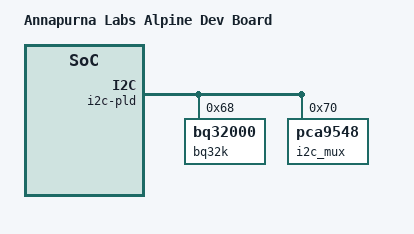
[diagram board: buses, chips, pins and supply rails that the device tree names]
/*
 * Copyright 2013 Annapurna Labs Ltd.
 *
 * This program is free software; you can redistribute it and/or modify it
 * under the terms and conditions of the GNU General Public License,
 * version 2, as published by the Free Software Foundation.
 *
 * This program is distributed in the hope it will be useful, but WITHOUT
 * ANY WARRANTY; without even the implied warranty of MERCHANTABILITY or
 * FITNESS FOR A PARTICULAR PURPOSE.  See the GNU General Public License for
 * more details.
 *
 * You should have received a copy of the GNU General Public License along with
 * this program.  If not, see <http://www.gnu.org/licenses/>.
 */

/dts-v1/;

/include/ "alpine.dtsi"

/ {
	version = "2.0";
	model = "Annapurna Labs Alpine Dev Board";
	compatible = "annapurna-labs,alpine";

	aliases {
		uart0 = &uart0;
	};

	chosen {
		bootargs = "dom0_mem=512M sync_console console=dtuart dtuart=uart0";
		xen,dom0-bootargs = "root=ubi0:root rootfstype=ubifs ubi.mtd=3 console=hvc0,115200n8 nosmp cpuidle.off=1 pci=pcie_bus_perf";
			/* root=/dev/nfs rw nfsroot=172.4.0.147:/srv/root/,tcp,nolock rw ip=172.4.3.32:172.4.0.147::255.255.248.0:alpine_db:eth1:none */
		modules {
			#address-cells = <1>;
			#size-cells = <1>;

			module@0 {
				compatible = "xen,linux-zimage", "xen,multiboot-module";
				reg = <0x60000000 0x500000>;
			};
		};
	};

	hypervisor {
		compatible = "xen,xen-4.4", "xen,xen";
		reg = <0x0 0xc0000000 0x0 0x20000>;
		interrupts = <1 15 0xf08>;
	};

	soc {
		arch-timer {
			compatible = "arm,cortex-a15-timer",
				     "arm,armv7-timer";
			interrupts = <1 13 0xf08>,
				     <1 14 0xf08>;
			clock-frequency = <1500000000>;
		};

		board-cfg {
			id = "alpine_db_auto";

			/* U-Boot offset in boot source [bytes] */
			u-boot-offset = <0x20000>;

			/*
			 * Some of the PBS bus controllers have dedicated pins,
			 * however most of the pins are Multi-usage I/Os (MUIO),
			 * thus enabling flexible usage.
			 * Refer to the specific chip datasheet for further details.
			 *
			 * Choose which interfaces are to be multiplexed:
			 * - &if_nand_8 - NAND
			 * - &if_nand_cs_0, ..., &if_nand_cs_3 - NAND CS 0..3
			 * - &if_nand_wp - NAND WP
			 * - &if_sata_0_leds, &if_sata_1_leds - SATA leds
			 * - &if_eth_leds - Ethernet leds
			 * - &if_uart_1, ..., &if_uart_3 - UART 1..3
			 * - &if_i2c_gen - secondary I2C conrtoller
			 * - &if_ulpi_0_rst_n - ULPI reset
			 * - &if_pci_ep_int_a - PCIe EP interrupt
			 * - &if_spim_a_ss_1, ..., &if_spim_a_ss_3 - SPI CS 1..3
			 */
			pinctrl_init {
				pinctrl-0 = <
					&if_nand_8
					&if_nand_cs_0
					&if_sata_1_leds
					&if_eth_leds
					&if_uart_1>;
			};

			/*
			 * Initial GPIO configuration - which pins are input,
			 * which are output, and what is the initial value for
			 * output pins.
			 * By default, GPIO pins that are not listed below are
			 * input pins.
			 * GPIO pins which are listed below are automatically
			 * multiplexed and should not conflict with the
			 * multiplexed interfaces listed in 'pinctrl_init'
			 * above.
			 */
			gpio_init {
				/* <
				 * GPIO num 1, is output, output value
				 * GPIO num 2, is output, output value
				 * ...
				 * GPIO num N, is output, output value
				 * >
				 */
				gpio-list = <
					/* Inputs */
					0 0 0 /* UART 1,2,3 module inserted */
					32 0 0 /* PCIE0 present */
					33 0 0 /* PCIE1_present */
					34 0 0 /* PCIE2SATA not present */
					35 0 0 /* SFP 0,1 absent */
					36 0 0 /* SFP 2,3 absent */
					37 0 0 /* External ETH PHY interrupt */

					/* Outputs */
					1 1 0 /* Debug led 0 */
					2 1 1 /* Debug led 1 */
					3 1 1 /* ULPI 0 RST_N */
					5 1 0 /* Preloader EEPROM enable */
					38 1 1 /* PCI RSTN */
					39 1 1 /* SFP ON */
					40 1 0 /* External ETH PHY A reset */
					41 1 0 /* External ETH PHY B reset */
					42 1 1 /* VDD DRAM 1: 1.5V, 0: 1.35V */
					43 1 0 /* VTT OFF */
				>;
			};

			/* SerDes initialization configuration */
			serdes {
				/*
				 * 'ref-clock' can be any of the following:
				 * - "100Mhz-internal" - 100 Mhz internal clock
				 * - "100Mhz" - 100 Mhz on-board clock
				 * - "156.25Mhz" - 156.25 Mhz on-board clock
				 * - "right" - Clock is routed from right group
				 *             - assuming the right group has
				 *               on-board clock
				 *             - assuming 3 <> 2 <> 1 <> 0
				 * - "left" - Clock is routed from left group
				 *            - assuming the left group has
				 *              on-board clock
				 *            - assuming 3 <> 2 <> 1 <> 0
				 *
				 * 'active-lanes' selects which lanes are active
				 * e.g. <0 1 2 3>, <0 1>, etc.
				 *
				 * 'inv-tx-lanes' selects which lanes have their
				 * Tx polarity inverted (+/-)
				 * e.g. <0 1 2 3>, <0 1>, etc.
				 *
				 * 'inv-rx-lanes' selects which lanes have their
				 * Rx polarity inverted (+/-)
				 * e.g. <0 1 2 3>, <0 1>, etc.
				 *
				 * 'ssc' - SSC (spread spectrum clock)
				 * - "enabled" or "disabled"
				 * - Relevant only for 'interface' = 'sata'
				 *
				 * group 0:
				 * 'interface' can be any of the following:
				 * - "off" - no interface on this group
				 * - "off_bp" - no interface on this group, but
				 *              r2l/l2r clocks are bypassed
				 * - "pcie_g2x2_usb" - PCIe gen 2 x2 + USB
				 * - "pcie_g2x2_pcie_g2x2" - 2xPCIe gen 2 x2
				 * - "pcie_g3x4" - PCIe gen 3 x4
				 *
				 * group 1:
				 * 'interface' can be any of the following:
				 * - "off" - no interface on this group
				 * - "off_bp" - no interface on this group, but
				 *              r2l/l2r clocks are bypassed
				 * - "pcie_g3x4" - PCIe gen 3 x4
				 * - "sata" - SATA (up to 4 ports)
				 *
				 * group 2:
				 * 'interface' can be any of the following:
				 * - "off" - no interface on this group
				 * - "off_bp" - no interface on this group, but
				 *              r2l/l2r clocks are bypassed
				 * - "pcie_g3x4" - PCIe gen 3 x4
				 * - "sata" - SATA (up to 4 ports)
				 *
				 * group 3:
				 * 'interface' can be any of the following:
				 * - "off" - no interface on this group
				 * - "off_bp" - no interface on this group, but
				 *              r2l/l2r clocks are bypassed
				 * - "pcie_g2x2_usb" - PCIe gen 2 x2 + USB
				 * - "sgmii" - SGMII (up to 4 ports)
				 * - "10gbe" - 10GbE (up to 4 ports)
				 */

				group0 {
					interface = "pcie_g2x2_usb";
					ref-clock = "left";
					active-lanes = <0 1>;
					inv-tx-lanes = <>;
					inv-rx-lanes = <>;
					ssc = "disabled";
				};

				group1 {
					interface = "sata";
					ref-clock = "100Mhz";
					active-lanes = <0 1 2 3>;
					inv-tx-lanes = <>;
					inv-rx-lanes = <>;
					ssc = "disabled";
				};

				group2 {
					interface = "sata";
					ref-clock = "right";
					active-lanes = <0 1 2 3>;
					inv-tx-lanes = <>;
					inv-rx-lanes = <>;
					ssc = "disabled";
				};

				group3 {
					interface = "10gbe";
					ref-clock = "156.25Mhz";
					active-lanes = <1 3>;
					inv-tx-lanes = <>;
					inv-rx-lanes = <>;
					ssc = "disabled";
				};
			};

			/* Ethernet port configuration */
			ethernet {
				port0 {
					status = "enabled";

					/*
					 * MAC mode (rgmii, sgmii, 1g-serial, 10g-serial, auto-detect, auto-detect-auto-speed)
					 * - auto-detect mode is relevant when SFP exists. in this mode
					 * SFP EEPROM will be read to detect what SFP inserted
					 * - auto-detect-auto-speed mode is relevant when SFP exists and
					 * the SerDes reference clock frequency is 156.25Mhz. In this
					 * mode SFP EEPROM will be read to detect what SFP inserted while
					 * 10G serial and 1G serial SFP modeuls can be exchanged on-the-fly
					 * as long as all active SerDes based Ethernet ports use the same
					 * mode.
					 */
					mode = "auto-detect-auto-speed";

					/*
					 * I2C bus ID as shows in Linux I2C bus enumeration
					 * Relevant when MAC mode is auto-detect or when phy_type is i2c
					 */
					i2c-id = <1>;

					10g-serial {
						auto-neg = "disabled";
						link-training = "disabled";
						fec = "disabled";
					};
				};

				port1 {
					status = "enabled";

					/*
					 * MAC mode (rgmii, sgmii, 1g-serial, 10g-serial, auto-detect, auto-detect-auto-speed)
					 * - auto-detect mode is relevant when SFP exists. in this mode
					 * SFP EEPROM will be read to detect what SFP inserted
					 * - auto-detect-auto-speed mode is relevant when SFP exists and
					 * the SerDes reference clock frequency is 156.25Mhz. In this
					 * mode SFP EEPROM will be read to detect what SFP inserted while
					 * 10G serial and 1G serial SFP modeuls can be exchanged on-the-fly
					 * as long as all active SerDes based Ethernet ports use the same
					 * mode.
					 */
					mode = "rgmii";

					ext_phy {
						/* PHY management interface type (mdc-mdio, xmdc-xmdio, i2c) */
						phy_mgmt_if = "mdc-mdio";
						/* in case the interface is i2c phy-addr is the
						 * 5 lowest bits of the i2c address*/
						phy-addr = <4>;
						/*
						 * MDC-MDIO frequency:
						 * - "2.5Mhz"
						 * - "1.0Mhz"
						 */
						mdc-mdio-freq = "2.5Mhz";
						/* auto negotiation (in-band, out-of-band)*/
						auto-neg-mode="out-of-band";
					};
				};

				port2 {
					status = "enabled";

					/*
					 * MAC mode (rgmii, sgmii, 1g-serial, 10g-serial, auto-detect, auto-detect-auto-speed)
					 * - auto-detect mode is relevant when SFP exists. in this mode
					 * SFP EEPROM will be read to detect what SFP inserted
					 * - auto-detect-auto-speed mode is relevant when SFP exists and
					 * the SerDes reference clock frequency is 156.25Mhz. In this
					 * mode SFP EEPROM will be read to detect what SFP inserted while
					 * 10G serial and 1G serial SFP modeuls can be exchanged on-the-fly
					 * as long as all active SerDes based Ethernet ports use the same
					 * mode.
					 */
					mode = "auto-detect-auto-speed";

					/*
					 * I2C bus ID as shows in Linux I2C bus enumeration
					 * Relevant when MAC mode is auto-detect or when phy_type is i2c
					 */
					i2c-id = <3>;

					10g-serial {
						auto-neg = "disabled";
						link-training = "disabled";
						fec = "disabled";
					};
				};

				port3 {
					status = "enabled";

					/*
					 * MAC mode (rgmii, sgmii, 1g-serial, 10g-serial, auto-detect, auto-detect-auto-speed)
					 * - auto-detect mode is relevant when SFP exists. in this mode
					 * SFP EEPROM will be read to detect what SFP inserted
					 * - auto-detect-auto-speed mode is relevant when SFP exists and
					 * the SerDes reference clock frequency is 156.25Mhz. In this
					 * mode SFP EEPROM will be read to detect what SFP inserted while
					 * 10G serial and 1G serial SFP modeuls can be exchanged on-the-fly
					 * as long as all active SerDes based Ethernet ports use the same
					 * mode.
					 */
					mode = "rgmii";
					ext_phy {
						/* PHY management interface type (mdc-mdio, xmdc-xmdio, i2c) */
						phy_mgmt_if = "mdc-mdio";
						/* in case the interface is i2c phy-addr is the
						 * 5 lowest bits of the i2c address*/
						phy-addr = <5>;
						/*
						 * MDC-MDIO frequency:
						 * - "2.5Mhz"
						 * - "1.0Mhz"
						 */
						mdc-mdio-freq = "2.5Mhz";
						/* auto negotiation (in-band, out-of-band)*/
						auto-neg-mode="out-of-band";
					};
				};
			};

			/* PCIe port configuration */
			pcie {
				/*
				 * Selects which ports are used as end-point
				 * ports, e.g. <0>.
				 */
				ep-ports = <>;
			};
		};

		/* pmu { status = "disabled"; }; */
		timer2 { status = "disabled"; };
		timer3 { status = "disabled"; };
		wdt1 { status = "disabled"; };
		wdt2 { status = "disabled"; };
		wdt3 { status = "disabled"; };
		/* i2c-pld  { status = "disabled"; }; */
		spi { status = "disabled"; };
		i2c-gen  { status = "disabled"; };
		/* gpio0 { status = "disabled"; }; */
		/* gpio1 { status = "disabled"; }; */
		/* gpio2 { status = "disabled"; }; */
		/* gpio3 { status = "disabled"; }; */
		/* gpio4 { status = "disabled"; }; */
		/* gpio5 { status = "disabled"; }; */
		uart0: uart0 {};
		uart1 { status = "disabled"; };
		uart2 { status = "disabled"; };
		uart3 { status = "disabled"; };
		nor_flash { status = "disabled"; };
		/* al-fabric { status = "disabled"; }; */
		/* pcie-internal { status = "disabled"; }; */
		/* pcie-external0 { status = "disabled"; }; */
		/* pcie-external1 { status = "disabled"; }; */
		/* pcie-external2 { status = "disabled"; }; */
		nand-flash {
			#address-cells = <1>;
			#size-cells = <1>;

			partition@0 {
				label = "al_boot";
				reg = <0x00000000 0x00200000>;
			};
			partition@1 {
				label = "device_tree";
				reg = <0x00200000 0x00100000>;
			};
			partition@2 {
				label = "linux_kernel";
				reg = <0x00300000 0x00d00000>;
			};
			partition@3 {
				label = "ubifs";
				reg = <0x01000000 0x03f000000>;
			};
		};

		i2c-pld  {
			#address-cells = <1>;
			#size-cells = <0>;

			bq32k@68 {
				compatible = "bq32000";
				reg = <0x68>;
			};

			i2c_mux@70 {
				compatible = "pca9548";
				reg = <0x70>;
			};
		};

		spi {
			/* cs-gpios = <&gpio0 4 0>; */

			spiflash@0 {
				#address-cells = <1>;
				#size-cells = <1>;
				compatible = "spi_flash_jedec_detection";
				spi-max-frequency = <25000000>; /* 25MHz */
				reg = <0>;

				partition@0 {
					reg = <0x0 0x00200000>; /* 2MB */
					label = "spi_part0";
				};

				partition@1 {
					reg = <0x00200000 0x00200000>; /* 2MB */
					label = "spi_part1";
				};

				partition@2 {
					reg = <0x00400000 0x00C00000>; /* 12MB */
					label = "spi_part2";
				};
			};
		};

		usb {
			serdes-group = <0>;
			serdes-lane = <2>;
			vbus-gpio = <&gpio0 4 0>;
		};

		/* SATA SW controlled leds, use gpio 1 for port 0 host 1, and gpio 2 for port 1 host 1 */
		/* host 1 pci address is domain 0, bus 0, device (slot) 9 */
		/* uncomment the below node in order to enable */
		/*
		sata_sw_leds {
			compatible = "annapurna-labs,al-sata-sw-leds";
			led@0 {
				label = "host 1, port 0 activity&presence led";
				pci_domain = <0>;
				pci_bus = <0>;
				pci_dev = <9>;
				port = <0>;
				gpios =<&gpio0 1 0>;
			};
			led@1 {
				label = "host 1, port 1 activity&presence led";
				pci_domain = <0>;
				pci_bus = <0>;
				pci_dev = <9>;
				port = <1>;
				gpios =<&gpio0 2 0>;
			};
		};
		*/
	};
};
